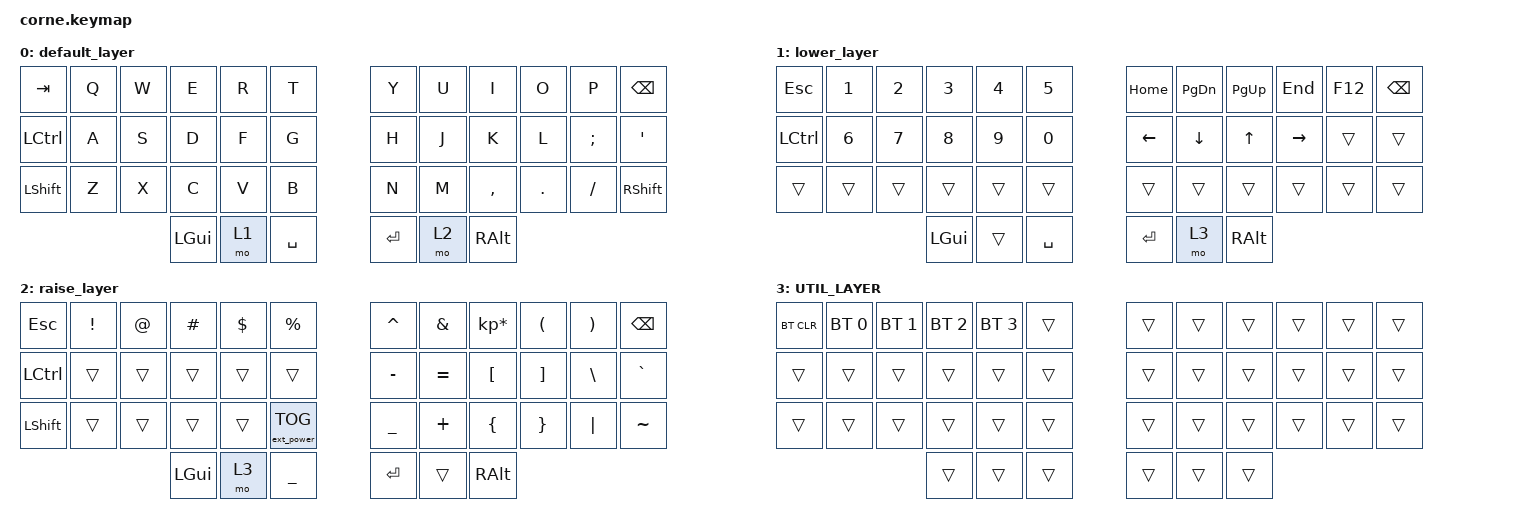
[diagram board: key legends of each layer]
/*
 * Copyright (c) 2020 The ZMK Contributors
 *
 * SPDX-License-Identifier: MIT
 */

#include <behaviors.dtsi>

/*
 * Temporarily here because nice nano v2 spi is not defined on ZMk Yet
 * Source: https://github.com/zmkfirmware/zmk/blob/main/app/boards/shields/reviung41/boards/nice_nano.overlay
 * GitHub Issue: https://github.com/zmkfirmware/zmk/issues/885
 */

#include <dt-bindings/led/led.h>
#include <dt-bindings/zmk/keys.h>
#include <dt-bindings/zmk/ext_power.h>
#include <dt-bindings/zmk/bt.h>

&spi1 {
    compatible = "nordic,nrf-spim";
    status = "okay";
    mosi-pin = <6>;

    // Unused pins, needed for SPI definition, but not used by the ws2812 driver itself.

    sck-pin = <5>;
    miso-pin = <7>;

    led_strip: ws2812@0 {
        compatible = "worldsemi,ws2812-spi";
        label = "WS2812";

        /* SPI */

        reg = <0>;/* ignored, but necessary for SPI bindings */
        spi-max-frequency = <4000000>;

        /* WS2812 */

        chain-length = <11>;/* arbitrary; change at will */
        spi-one-frame = <0x70>;
        spi-zero-frame = <0x40>;
        color-mapping = <LED_COLOR_ID_GREEN LED_COLOR_ID_RED LED_COLOR_ID_BLUE>;
    };
};

/ {
    chosen {
        zmk,underglow = &led_strip;
    };
};

/ {
    keymap {
        compatible = "zmk,keymap";

        default_layer {
            // -----------------------------------------------------------------------------------------
            // |  TAB |  Q  |  W  |  E  |  R  |  T  |   |  Y  |  U   |  I  |  O  |  P  | BKSP |
            // | CTRL |  A  |  S  |  D  |  F  |  G  |   |  H  |  J   |  K  |  L  |  ;  |  '   |
            // | SHFT |  Z  |  X  |  C  |  V  |  B  |   |  N  |  M   |  ,  |  .  |  /  | SHFT |
            //                    | GUI | LWR | SPC |   | ENT | RSE  | ALT |

            bindings = <
   &kp TAB   &kp Q   &kp W     &kp E   &kp R      &kp T    &kp Y   &kp U      &kp I    &kp O     &kp P   &kp BSPC
 &kp LCTRL   &kp A   &kp S     &kp D   &kp F      &kp G    &kp H   &kp J      &kp K    &kp L  &kp SEMI    &kp SQT
 &kp LSHFT   &kp Z   &kp X     &kp C   &kp V      &kp B    &kp N   &kp M  &kp COMMA  &kp DOT  &kp FSLH  &kp RSHFT
                            &kp LGUI   &mo 1  &kp SPACE  &kp RET   &mo 2   &kp RALT
            >;
        };

        lower_layer {
            // -----------------------------------------------------------------------------------------
            // |  ESB |  1  |  2  |  3  |  4  |  5  |   | HME | PDN | PUP | END | F12 | BKSP |
            // | BTCLR|  6  |  7  |  8  |  9  |  0  |   | LFT | DWN |  UP | RGT |     |      |
            // | SHFT | BTC | BT1 | BT2 | BT3 | BT4 |   |     |     |     |     |     |      |
            //                    | GUI |     | SPC |   | ENT |     | ALT |

            bindings = <
   &kp ESC  &kp N1  &kp N2    &kp N3  &kp N4     &kp N5  &kp HOME  &kp PG_DN  &kp PG_UP    &kp END  &kp F12  &kp BSPC
 &kp LCTRL  &kp N6  &kp N7    &kp N8  &kp N9     &kp N0  &kp LEFT   &kp DOWN     &kp UP  &kp RIGHT   &trans    &trans
    &trans  &trans  &trans    &trans  &trans     &trans    &trans     &trans     &trans     &trans   &trans    &trans
                            &kp LGUI  &trans  &kp SPACE   &kp RET      &mo 3   &kp RALT
            >;
        };

        raise_layer {
            // -----------------------------------------------------------------------------------------
            // |  ESC |  !  |  @  |  #  |  $  |  %  |   |  ^  |  &  |  *  |  (  |  )  | BKSP |
            // | CTRL |     |     |     |     |     |   |  -  |  =  |  [  |  ]  |  \  |  `   |
            // | SHFT |     |     |     |     | EPo |   |  _  |  +  |  {  |  }  | "|" |  ~   |
            //                    | GUI |     |  _  |   | ENT |     | ALT |

            bindings = <
   &kp ESC  &kp EXCL  &kp AT  &kp HASH  &kp DLLR          &kp PRCNT  &kp CARET   &kp AMPS  &kp KP_MULTIPLY  &kp LPAR  &kp RPAR   &kp BSPC
 &kp LCTRL    &trans  &trans    &trans    &trans             &trans  &kp MINUS  &kp EQUAL         &kp LBKT  &kp RBKT  &kp BSLH  &kp GRAVE
 &kp LSHFT    &trans  &trans    &trans    &trans  &ext_power EP_TOG  &kp UNDER   &kp PLUS         &kp LBRC  &kp RBRC  &kp PIPE  &kp TILDE
                              &kp LGUI     &mo 3          &kp UNDER    &kp RET     &trans         &kp RALT
            >;
        };

        UTIL_LAYER {
            bindings = <
 &bt BT_CLR  &bt BT_SEL 0  &bt BT_SEL 1  &bt BT_SEL 2  &bt BT_SEL 3  &trans  &trans  &trans  &trans  &trans  &trans  &trans
     &trans        &trans        &trans        &trans        &trans  &trans  &trans  &trans  &trans  &trans  &trans  &trans
     &trans        &trans        &trans        &trans        &trans  &trans  &trans  &trans  &trans  &trans  &trans  &trans
                                               &trans        &trans  &trans  &trans  &trans  &trans
            >;
        };
    };
};
